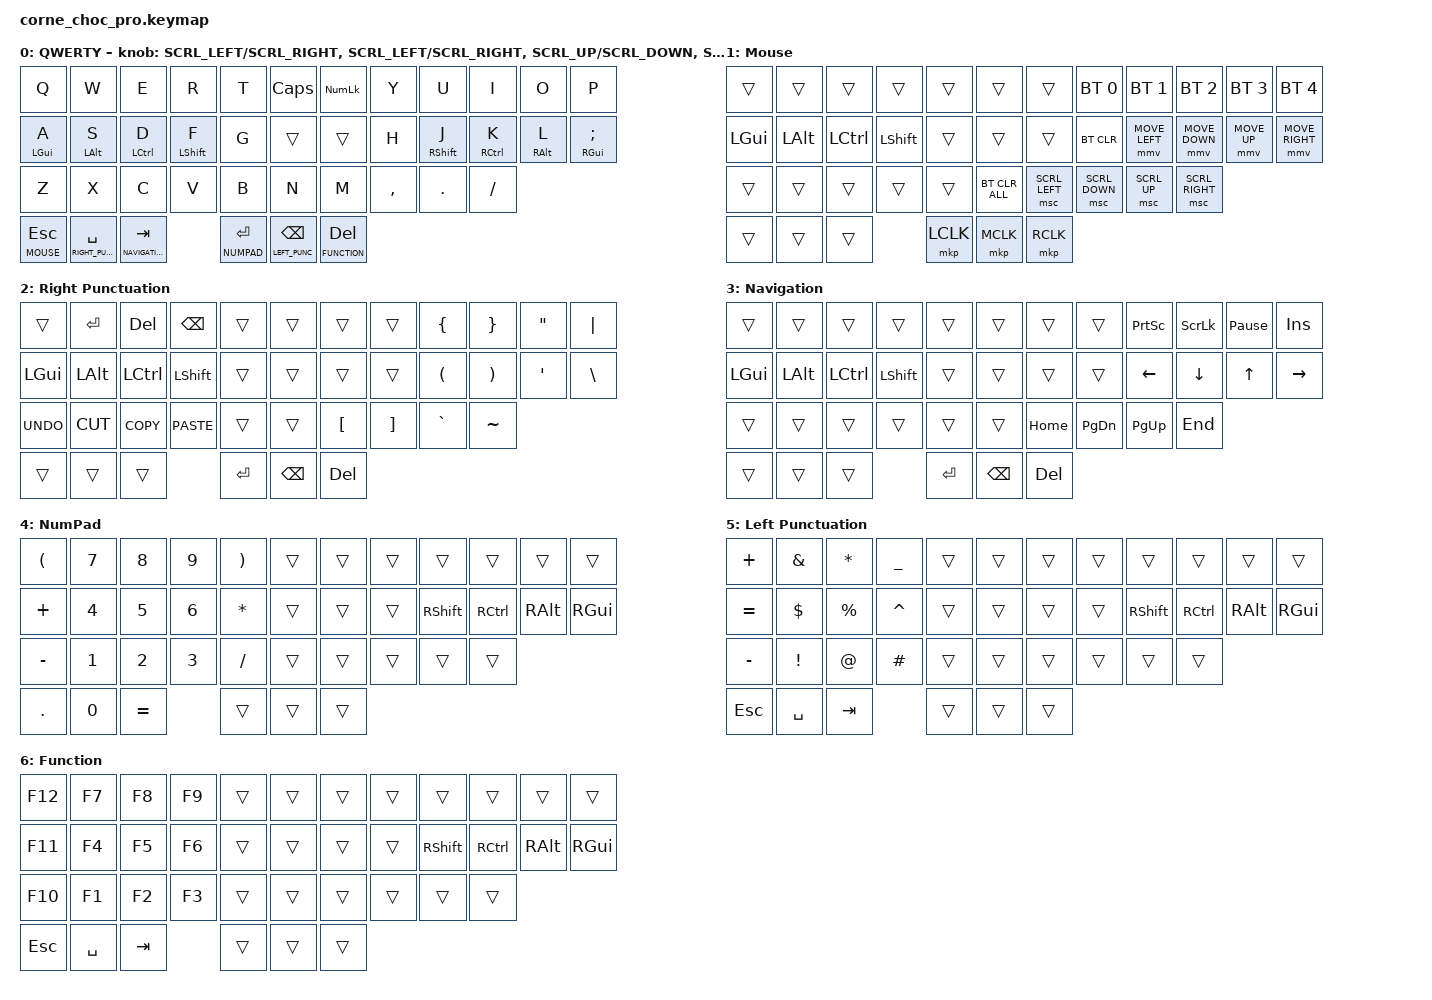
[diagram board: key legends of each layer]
/*
 * Copyright (c) 2020 The ZMK Contributors
 *
 * SPDX-License-Identifier: MIT
 */

#include <behaviors.dtsi>
#include <dt-bindings/zmk/keys.h>
#include <dt-bindings/zmk/bt.h>
#include <dt-bindings/zmk/rgb.h>
#include <dt-bindings/zmk/mouse.h>

#define MOUSE 1
#define RIGHT_PUNC 2
#define NAVIGATION 3
#define NUMPAD 4
#define LEFT_PUNC 5
#define FUNCTION 6

/ {
    behaviors {
        inc_dec_ms: inc_dec_ms {
            compatible = "zmk,behavior-sensor-rotate-var";
            #sensor-binding-cells = <2>;
            bindings = <&msc>, <&msc>;
        };
    };
};

/ {
    chosen {
        zmk,physical-layout = &five_col_layout;
    };
};

/ {
    keymap {
        compatible = "zmk,keymap";

        default_layer {
            display-name = "QWERTY";
            // --------------------------------------------------------------------------------
            // |  Q  |  W  |  E  |  R  |  T  | CAPS | NLCK |  Y  |  U  |  I  |  O  |  P  |
            // | GUI/A | ALT/S | CTL/D | SFT/F |  G  |     |     |  H  | SFT/J | CTL/K | ALT/L | GUI/; |
            // |  Z  |  X  |  C  |  V  |  B  |               |  N  |  M  |  ,  |  .  |  /  |
            //                    | ESC | SPC | TAB |       | ENT | BSPC | DEL |
            //                    |MOUSE|R_PUNC| NAV |   |NUMPAD|L_PUNC| FUNC|
            bindings = <
                &kp Q           &kp W           &kp E           &kp R           &kp T           &kp CAPSLOCK    &kp KP_NUMLOCK   &kp Y           &kp U           &kp I           &kp O           &kp P
                &mt LGUI A      &mt LALT S      &mt LCTL D      &mt LSHFT F     &kp G           &trans          &trans           &kp H           &mt RSHFT J     &mt RCTL K      &mt RALT L      &mt RGUI SEMI
                &kp Z           &kp X           &kp C           &kp V           &kp B           &kp N           &kp M           &kp COMMA       &kp DOT         &kp FSLH
                &lt MOUSE ESC   &lt RIGHT_PUNC SPACE  &lt NAVIGATION TAB  &lt NUMPAD RET  &lt LEFT_PUNC BSPC  &lt FUNCTION DEL
            >;
            sensor-bindings = <&inc_dec_ms SCRL_LEFT SCRL_RIGHT &inc_dec_ms SCRL_LEFT SCRL_RIGHT &inc_dec_ms SCRL_UP SCRL_DOWN &inc_dec_ms SCRL_UP SCRL_DOWN>;
        };

        mouse_layer {
            display-name = "Mouse";
            // --------------------------------------------------------------------------------
            // |     |     |     |     |     |     |     | BT0 | BT1 | BT2 | BT3 | BT4 |
            // | LGUI | LALT | LCTL | LSHFT |     |     |     |BTCLR| M_LFT | M_DN | M_UP | M_RT |
            // |     |     |     |     |     |               |BTCLR| W_LFT | W_DN | W_UP | W_RT |
            //                    |     |     |     |       |L_CLK | M_CLK | R_CLK |
            bindings = <
                &trans          &trans          &trans          &trans          &trans          &trans          &trans          &bt BT_SEL 0    &bt BT_SEL 1    &bt BT_SEL 2    &bt BT_SEL 3    &bt BT_SEL 4
                &kp LGUI        &kp LALT        &kp LCTL        &kp LSHFT       &trans          &trans          &trans          &bt BT_CLR      &mmv MOVE_LEFT   &mmv MOVE_DOWN  &mmv MOVE_UP    &mmv MOVE_RIGHT
                &trans          &trans          &trans          &trans          &trans          &bt BT_CLR_ALL  &msc SCRL_LEFT   &msc SCRL_DOWN  &msc SCRL_UP    &msc SCRL_RIGHT
                &trans          &trans          &trans          &mkp LCLK       &mkp MCLK       &mkp RCLK
            >;
        };

        right_punc_layer {
            display-name = "Right Punctuation";
            // --------------------------------------------------------------------------------
            // |     | RET | DEL | BSPC |     |     |     |     |  {  |  }  |  "  |  |  |
            // | LGUI | LALT | LCTL | LSHFT |     |     |     |     |  (  |  )  |  '  |  \  |
            // | Undo | Cut | Copy | Paste |     |               |     |  [  |  ]  |  `  |  ~  |
            //                    |     |     |     |       |     | BSPC | DEL |
            bindings = <
                &trans          &kp RET         &kp DEL         &kp BSPC        &trans          &trans          &trans          &trans          &kp LBRC        &kp RBRC        &kp DQT         &kp PIPE
                &kp LGUI        &kp LALT        &kp LCTL        &kp LSHFT       &trans          &trans          &trans          &trans          &kp LPAR        &kp RPAR        &kp SQT         &kp BSLH
                &kp K_UNDO      &kp K_CUT       &kp K_COPY      &kp K_PASTE     &trans          &trans          &kp LBKT        &kp RBKT        &kp GRAVE       &kp TILDE
                &trans          &trans          &trans          &kp RET         &kp BSPC        &kp DEL
            >;
        };

        navigation_layer {
            display-name = "Navigation";
            // --------------------------------------------------------------------------------
            // |     |     |     |     |     |     |     |     | PSCRN | SLCK | PAUSE | INS |
            // | LGUI | LALT | LCTL | LSHFT |     |     |     |     | LEFT | DOWN | UP | RIGHT |
            // |     |     |     |     |     |               |     | HOME | PG_DN | PG_UP | END |
            //                    |     |     |     |       | RET | BSPC | DEL |
            bindings = <
                &trans          &trans          &trans          &trans          &trans          &trans          &trans          &trans          &kp PSCRN       &kp SLCK        &kp PAUSE_BREAK &kp INSERT
                &kp LGUI        &kp LALT        &kp LCTL        &kp LSHFT       &trans          &trans          &trans          &trans          &kp LEFT        &kp DOWN        &kp UP          &kp RIGHT
                &trans          &trans          &trans          &trans          &trans          &trans          &kp HOME        &kp PG_DN       &kp PG_UP       &kp END
                &trans          &trans          &trans          &kp RET         &kp BSPC        &kp DEL
            >;
        };

        numpad_layer {
            display-name = "NumPad";
            // --------------------------------------------------------------------------------
            // |  (  |  7  |  8  |  9  |  )  |     |     |     |     |     |     |     |
            // |  +  |  4  |  5  |  6  |  *  |     |     |     | RSHFT | RCTL | RALT | RGUI |
            // |  -  |  1  |  2  |  3  |  /  |               |     |     |     |     |     |
            //                    |  .  |  0  |  =  |       |     |     |     |
            bindings = <
                &kp LPAR        &kp N7          &kp N8          &kp N9          &kp RPAR        &trans          &trans          &trans          &trans          &trans          &trans          &trans
                &kp PLUS        &kp N4          &kp N5          &kp N6          &kp ASTRK       &trans          &trans          &trans          &kp RSHFT       &kp RCTL        &kp RALT        &kp RGUI
                &kp MINUS       &kp N1          &kp N2          &kp N3          &kp FSLH        &trans          &trans          &trans          &trans          &trans
                &kp DOT         &kp N0          &kp EQUAL       &trans          &trans          &trans
            >;
        };

        left_punc_layer {
            display-name = "Left Punctuation";
            // --------------------------------------------------------------------------------
            // |  +  |  &  |  *  |  _  |     |     |     |     |     |     |     |     |
            // |  =  |  $  |  %  |  ^  |     |     |     |     | RSHFT | RCTL | RALT | RGUI |
            // |  -  |  !  |  @  |  #  |     |               |     |     |     |     |     |
            //                    | ESC | SPC | TAB |       |     |     |     |
            bindings = <
                &kp PLUS        &kp AMPS        &kp ASTRK       &kp UNDER       &trans          &trans          &trans          &trans          &trans          &trans          &trans          &trans
                &kp EQUAL       &kp DLLR        &kp PRCNT       &kp CARET       &trans          &trans          &trans          &trans          &kp RSHFT       &kp RCTL        &kp RALT        &kp RGUI
                &kp MINUS       &kp EXCL        &kp AT          &kp HASH        &trans          &trans          &trans          &trans          &trans          &trans
                &kp ESC         &kp SPACE       &kp TAB         &trans          &trans          &trans
            >;
        };

        function_layer {
            display-name = "Function";
            // --------------------------------------------------------------------------------
            // | F12 | F7  | F8  | F9  |     |     |     |     |     |     |     |     |
            // | F11 | F4  | F5  | F6  |     |     |     |     | RSHFT | RCTL | RALT | RGUI |
            // | F10 | F1  | F2  | F3  |     |               |     |     |     |     |     |
            //                    | ESC | SPC | TAB |       |     |     |     |
            bindings = <
                &kp F12         &kp F7          &kp F8          &kp F9          &trans          &trans          &trans          &trans          &trans          &trans          &trans          &trans
                &kp F11         &kp F4          &kp F5          &kp F6          &trans          &trans          &trans          &trans          &kp RSHFT       &kp RCTL        &kp RALT        &kp RGUI
                &kp F10         &kp F1          &kp F2          &kp F3          &trans          &trans          &trans          &trans          &trans          &trans
                &kp ESC         &kp SPACE       &kp TAB         &trans          &trans          &trans
            >;
        };
    };
};
